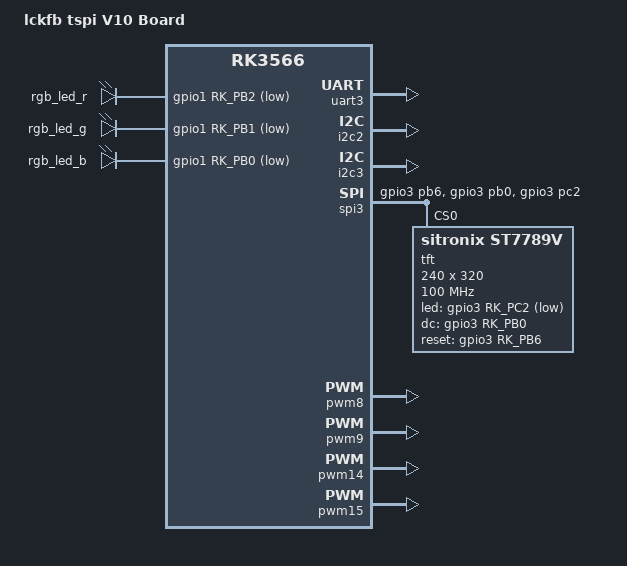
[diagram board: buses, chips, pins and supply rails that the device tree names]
// SPDX-License-Identifier: (GPL-2.0+ OR MIT)
/*
 * Copyright (c) 2020 Rockchip Electronics Co., Ltd.
 *
 */

 /*********************************************************************
 *           立创开发板不靠卖板赚钱，以培养中国工程师为己任  
 *         泰山派软硬件资料与相关扩展板软硬件资料官网全部开源
 *                      开发板官网：www.lckfb.com            
 *                     立创论坛：oshwhub.com/forum           
 *            关注B站：【立创开发板】，掌握我们的最新动态！  
 *********************************************************************
 * 文件名：tspi-rk3566-user-v10.dtsi
 * 描述：用户自定义层
 * 更新:
 * 时间          作者           联系           说明
 * 2023-09-13   吴才成    1378913492@qq.com   v1.0.0
 *********************************************************************/
/dts-v1/;

#include <dt-bindings/gpio/gpio.h>
#include <dt-bindings/display/media-bus-format.h>
#include <dt-bindings/pinctrl/rockchip.h>
#include "rk3566.dtsi"
#include <dt-bindings/display/rockchip_vop.h>


//tspi核心配置层，这里是几乎后期不需要怎么改动
#include "tspi-rk3566-core-v10.dtsi"

//【开/关】EDP 显示屏幕配置，用户可以基于此复制自己的屏幕，注意EDP与MIPI屏幕互斥，因为共用了VOP如果需要同显自行修改
// #include "tspi-rk3566-edp-v10.dtsi"

//【开/关】mipi 显示屏幕配置，用户可以基于此复制自己的屏幕，注意EDP与MIPI屏幕互斥，因为共用了VOP如果需要同显自行修改
// #include "tspi-rk3566-dsi-v10.dtsi"

//【开/关】HDMI 显示屏幕配置，里面内容几乎可以不用动，如果不需要hdmi显示直接注释掉即可
// #include "tspi-rk3566-hdmi-v10.dtsi"

//【开/关】摄像头 目前视频的是ov5659
// #include "tspi-rk3566-csi-v10.dtsi"

//【开/关】网口 扩展板上使用的是千兆网，不接扩展板情况下可以关闭
// #include "tspi-rk3566-gmac1-v10.dtsi"

//【开/关】下方是用户定义层，所有用户修改理论上在此下方修改就好了
/ {
	model = "lckfb tspi V10 Board";
	compatible = "lckfb,tspi-v10", "rockchip,rk3566";

	rk_headset: rk-headset {
		compatible = "rockchip_headset";
		headset_gpio = <&gpio0 RK_PC5 GPIO_ACTIVE_HIGH>;
		pinctrl-names = "default";
		pinctrl-0 = <&hp_det>;
	};

	leds: leds {
		compatible = "gpio-leds";
		rgb_led_r: rgb-led-r {
			gpios = <&gpio1 RK_PB2 GPIO_ACTIVE_LOW>;
			linux,default-trigger = "timer";
			linux,delay-reg = <0>;   		// 延时注册
			linux,blink-delay-on = <500>; 	// 打开时间
			linux,blink-delay-off = <500>;	// 关闭时间
		};
		rgb_led_g: rgb-led-g {
			gpios = <&gpio1 RK_PB1 GPIO_ACTIVE_LOW>;
			linux,default-trigger = "timer";
			linux,delay-reg = <100>;   		// 延时注册
			linux,blink-delay-on = <1000>; 
			linux,blink-delay-off = <1000>;
		};
		rgb_led_b: rgb-led-b {
			gpios = <&gpio1 RK_PB0 GPIO_ACTIVE_LOW>;
			linux,default-trigger = "timer";
			linux,delay-reg = <100>;  		// 延时注册
			linux,blink-delay-on = <1500>; 
			linux,blink-delay-off = <1500>;
		};
	};

};

&pinctrl {
	headphone {
		hp_det: hp-det {
			rockchip,pins = <0 RK_PC5 RK_FUNC_GPIO &pcfg_pull_none>;
		};
	};
	spi3_tft{
		spi3_tft:spi3-tft{
			rockchip,pins =
			/* spi3_clkm1 */
			<4 RK_PC2 2 &pcfg_pull_up_drv_level_1>,
			/* spi3_cs */
			<4 RK_PC5 RK_FUNC_GPIO &pcfg_pull_none>,
			/* spi3_mosim1 */
			<4 RK_PC3 2 &pcfg_pull_up_drv_level_1>;
		};
	};
	/* 配置TFT */
	tft_rst {
		gpio3_pb6:gpio3-pb6 {
			rockchip,pins = <3 RK_PB6 RK_FUNC_GPIO &pcfg_output_high>;
		};
	};

	tft_dc {
		gpio3_pb0:gpio3-pb0 {
			rockchip,pins = <3 RK_PB0 RK_FUNC_GPIO &pcfg_pull_none>;
		};
	};

	tft_bl {
		gpio3_pc2:gpio3-pc2 {
			rockchip,pins = <3 RK_PC2 RK_FUNC_GPIO &pcfg_output_low>;
		};
	};


};

//用户三色灯
&leds {
	status = "okay";
};

//耳机插入检测，不使用扩展板情况需关闭，否则默认会检测到耳机插入
&rk_headset {
	status = "disabled";
};

//用户串口3
&uart3 {
	status = "okay";
	pinctrl-names = "default";
	pinctrl-0 = <&uart3m1_xfer>;
};

//用户I2C2
&i2c2 {
	status = "okay";

	/*添加你的I2C设备参考
	gt1x: gt1x@14 {
		compatible = "goodix,gt1x";
		reg = <0x14>;
		pinctrl-names = "default";
		pinctrl-0 = <&touch_gpio>;
		goodix,rst-gpio = <&gpio0 RK_PB6 GPIO_ACTIVE_HIGH>;
		goodix,irq-gpio = <&gpio0 RK_PB5 IRQ_TYPE_LEVEL_LOW>;
	};*/
};

&i2c3 {
	status = "okay";
	pinctrl-names = "default";
	pinctrl-0 = <&i2c3m1_xfer>;
	/*添加你的I2C设备参考
	gt1x: gt1x@14 {
		compatible = "goodix,gt1x";
		reg = <0x14>;
		pinctrl-names = "default";
		pinctrl-0 = <&touch_gpio>;
		goodix,rst-gpio = <&gpio0 RK_PB6 GPIO_ACTIVE_HIGH>;
		goodix,irq-gpio = <&gpio0 RK_PB5 IRQ_TYPE_LEVEL_LOW>;
	};*/
};


&spi3 {
	status = "okay";
	pinctrl-names = "default";
	pinctrl-0 = <&spi3_tft &gpio3_pb6 &gpio3_pb0 &gpio3_pc2>;
	#address-cells = <1>;
	#size-cells = <0>;
	tft: lcd@0{
		compatible = "sitronix,st7789v"; //固定的写法使用sitronix,st7789v驱动
		spi-max-frequency = <100000000>; //设置SPI的速率
		reg = <0>;//SPI序号
		spi-cpol;
		spi-cpha;
		rotate = <90>;// 旋转角度，lcd驱动里会读取并设置对应寄存器
		fps = <100>;
		width = <240>;
		height = <320>;
		// invert;
		// bgr = <0>;
		buswidth = <8>;//SPI 8位数据长度
		led-gpios = <&gpio3 RK_PC2 GPIO_ACTIVE_LOW>;//BL
		dc-gpios = <&gpio3 RK_PB0 GPIO_ACTIVE_HIGH>;//DC
		reset-gpios = <&gpio3 RK_PB6 GPIO_ACTIVE_HIGH>;//RES
		cs-gpios = <&gpio4 RK_PC5 GPIO_ACTIVE_LOW>;//CS
		// debug = <7>;
	};
};

&pwm8 {
	status = "okay";
};

&pwm9 {
	status = "okay";
};

&pwm14 {
	status = "okay";
};

//pwd 15遥控器
&pwm15 {
	status = "okay";
	compatible = "rockchip,remotectl-pwm";
	remote_pwm_id = <3>;
	handle_cpu_id = <1>;
	remote_support_psci = <0>;
	pinctrl-names = "default";
	pinctrl-0 = <&pwm15m0_pins>;

	//用户自定方法：adb设置输出日志并通过dmesg确定usercode=address与key_table=command
	//echo 1 > sys/module/rockchip_pwm_remotectl/parameters/code_print
	//键值可在 include/dt-bindings/input/linux-event-codes.h 中查找
	ir_key1 {
		rockchip,usercode = <0xff00>;
		rockchip,key_table =
			<0xf2	KEY_MENU>,
			<0xe9	KEY_BACK>,
			<0xe3	KEY_ENTER>,
			<0xe7	KEY_UP>,
			<0xad	KEY_DOWN>,
			<0xf7	KEY_LEFT>,
			<0xa5	KEY_RIGHT>,
			<0xba	KEY_1>,
			<0xb9	KEY_2>,
			<0xb8	KEY_3>,
			<0xbb	KEY_4>,
			<0xbf	KEY_5>,
			<0xbc	KEY_6>,
			<0xf8	KEY_7>,
			<0xea	KEY_8>,
			<0xf6	KEY_9>,
			<0xe6	KEY_0>;
	};
};
